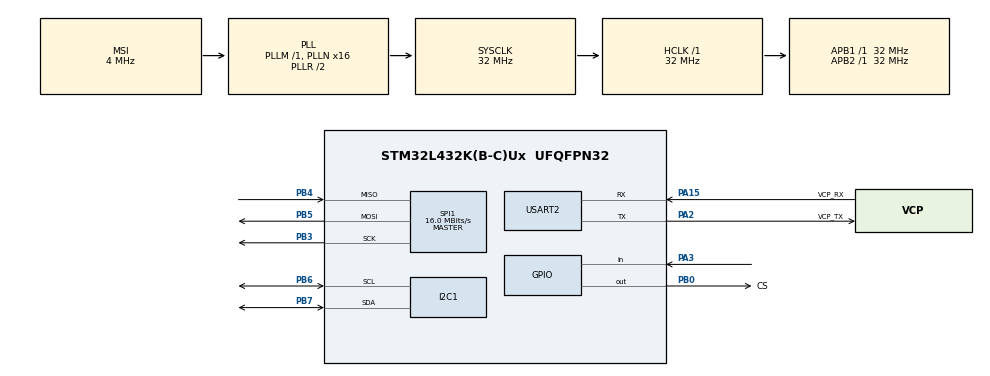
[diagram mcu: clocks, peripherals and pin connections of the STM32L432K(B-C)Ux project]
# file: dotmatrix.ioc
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I2C1.Timing=0x00B07CB4
Mcu.Family=STM32L4
Mcu.Name=STM32L432K(B-C)Ux
Mcu.Package=UFQFPN32
NVIC.PriorityGroup=NVIC_PRIORITYGROUP_4
PA0.GPIO_Label=MCO [High speed clock in]
PA0.Mode=HSE-External-Clock-Source-for-LittleOrca
PA0.Signal=RCC_CK_IN
PA13\ (JTMS-SWDIO).GPIO_Label=SWDIO
PA13\ (JTMS-SWDIO).Mode=Serial_Wire
PA13\ (JTMS-SWDIO).Signal=SYS_JTMS-SWDIO
PA14\ (JTCK-SWCLK).GPIO_Label=SWCLK
PA14\ (JTCK-SWCLK).Mode=Serial_Wire
PA14\ (JTCK-SWCLK).Signal=SYS_JTCK-SWCLK
PA15\ (JTDI).GPIO_Label=VCP_RX
PA15\ (JTDI).Mode=Asynchronous
PA15\ (JTDI).Signal=USART2_RX
PA2.GPIO_Label=VCP_TX
PA2.Mode=Asynchronous
PA2.Signal=USART2_TX
PA3.Signal=GPIO_Input
PB0.GPIO_Label=CS
PB0.Signal=GPIO_Output
PB3\ (JTDO-TRACESWO).Mode=Full_Duplex_Master
PB3\ (JTDO-TRACESWO).Signal=SPI1_SCK
PB4\ (NJTRST).Mode=Full_Duplex_Master
PB4\ (NJTRST).Signal=SPI1_MISO
PB5.Mode=Full_Duplex_Master
PB5.Signal=SPI1_MOSI
PB6.Mode=I2C
PB6.Signal=I2C1_SCL
PB7.Mode=I2C
PB7.Signal=I2C1_SDA
PC14-OSC32_IN\ (PC14).Mode=LSE-External-Oscillator
PC14-OSC32_IN\ (PC14).Signal=RCC_OSC32_IN
PC15-OSC32_OUT\ (PC15).Mode=LSE-External-Oscillator
PC15-OSC32_OUT\ (PC15).Signal=RCC_OSC32_OUT
ProjectManager.HeapSize=0x200
ProjectManager.StackSize=0x400
ProjectManager.TargetToolchain=STM32CubeIDE
RCC.AHBFreq_Value=32000000
RCC.APB1Freq_Value=32000000
RCC.APB1TimFreq_Value=32000000
RCC.APB2Freq_Value=32000000
RCC.APB2TimFreq_Value=32000000
RCC.CortexFreq_Value=32000000
RCC.HCLKFreq_Value=32000000
RCC.HSE_VALUE=8000000
RCC.HSI16_VALUE=16000000
RCC.HSI48_VALUE=48000000
RCC.HSI_VALUE=16000000
RCC.MSI_VALUE=4000000
RCC.PLLMUL=RCC_PLLMUL_4
RCC.PLLN=16
RCC.SYSCLKFreq_VALUE=32000000
RCC.SYSCLKSource=RCC_SYSCLKSOURCE_PLLCLK
RCC.VCOOutputFreq_Value=64000000
SPI1.CalculateBaudRate=16.0 MBits/s
SPI1.DataSize=SPI_DATASIZE_8BIT
SPI1.Direction=SPI_DIRECTION_2LINES
SPI1.Mode=SPI_MODE_MASTER
SPI1.VirtualType=VM_MASTER
TIM7.AutoReloadPreload=TIM_AUTORELOAD_PRELOAD_DISABLE
TIM7.Period=65501
TIM7.Prescaler=36639
USART2.VirtualMode-Asynchronous=VM_ASYNC
VP_TIM7_VS_ClockSourceINT.Mode=Enable_Timer
board=NUCLEO-L432KC

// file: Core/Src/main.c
/* USER CODE BEGIN Header */
/**
  ******************************************************************************
  * @file           : main.c
  * @brief          : Main program body
  ******************************************************************************
  * @attention
  *
  * Copyright (c) 2025 STMicroelectronics.
  * All rights reserved.
  *
  * This software is licensed under terms that can be found in the LICENSE file
  * in the root directory of this software component.
  * If no LICENSE file comes with this software, it is provided AS-IS.
  *
  ******************************************************************************
  */
/* USER CODE END Header */
#include "main.h"
#include "i2c.h"
#include "spi.h"
#include "tim.h"
#include "usart.h"
#include "gpio.h"

/* USER CODE BEGIN Includes */
#include "gamelogic.h"
#include "joystick.h"
#include "string.h"
#include <time.h>
#include "LED.h"
#include <stdlib.h>
/* USER CODE END Includes */

/* USER CODE BEGIN PV */
extern int game_over;
/* USER CODE END PV */

void SystemClock_Config(void);

int main(void)
{

  /* USER CODE BEGIN 1 */
    srand(time(NULL));
    const char *msg = "Starting Snake Game\r\n";

  /* USER CODE END 1 */

  /* MCU Configuration--------------------------------------------------------*/

  /* Reset of all peripherals, Initializes the Flash interface and the Systick. */
  HAL_Init();

  /* Configure the system clock */
  SystemClock_Config();

  /* Initialize all configured peripherals */
  MX_GPIO_Init();
  MX_USART2_UART_Init();
  MX_SPI1_Init();
  MX_I2C1_Init();
  MX_TIM7_Init();
  /* USER CODE BEGIN 2 */
  welcome_animation();
  init_game();
  PCA9538A_Init();
  MAX7219_Init();

  /* USER CODE END 2 */

  /* Infinite loop */
  /* USER CODE BEGIN WHILE */
  while (1)
  {
	  // Wait for button press to start the game
	       while (1) {
	           uint8_t joystick_input = PCA9538A_ReadInput();
	           if (joystick_input == JOY_BUTTON) {
	        	   HAL_UART_Transmit(&huart2, (uint8_t*)msg, strlen(msg), HAL_MAX_DELAY);
	        	   HAL_TIM_Base_Start_IT(&htim7);
	               init_game();
	               break;
	           }
	           HAL_Delay(100); // Polling delay
	       }

	       // Game loop
	       while (!game_over) {
	    	   update_direction();
	           move_snake();
	           display_game();
	           HAL_Delay(500);

	       }
	       HAL_TIM_Base_Start_IT(&htim7);
    /* USER CODE END WHILE */

  }
}

void SystemClock_Config(void)
{
  RCC_OscInitTypeDef RCC_OscInitStruct = {0};
  RCC_ClkInitTypeDef RCC_ClkInitStruct = {0};

  /** Configure the main internal regulator output voltage
  */
  if (HAL_PWREx_ControlVoltageScaling(PWR_REGULATOR_VOLTAGE_SCALE1) != HAL_OK)
  {
    Error_Handler();
  }

  /** Configure LSE Drive Capability
  */
  HAL_PWR_EnableBkUpAccess();
  __HAL_RCC_LSEDRIVE_CONFIG(RCC_LSEDRIVE_LOW);

  /** Initializes the RCC Oscillators according to the specified parameters
  * in the RCC_OscInitTypeDef structure.
  */
  RCC_OscInitStruct.OscillatorType = RCC_OSCILLATORTYPE_LSE|RCC_OSCILLATORTYPE_MSI;
  RCC_OscInitStruct.LSEState = RCC_LSE_ON;
  RCC_OscInitStruct.MSIState = RCC_MSI_ON;
  RCC_OscInitStruct.MSICalibrationValue = 0;
  RCC_OscInitStruct.MSIClockRange = RCC_MSIRANGE_6;
  RCC_OscInitStruct.PLL.PLLState = RCC_PLL_ON;
  RCC_OscInitStruct.PLL.PLLSource = RCC_PLLSOURCE_MSI;
  RCC_OscInitStruct.PLL.PLLM = 1;
  RCC_OscInitStruct.PLL.PLLN = 16;
  RCC_OscInitStruct.PLL.PLLP = RCC_PLLP_DIV7;
  RCC_OscInitStruct.PLL.PLLQ = RCC_PLLQ_DIV2;
  RCC_OscInitStruct.PLL.PLLR = RCC_PLLR_DIV2;
  if (HAL_RCC_OscConfig(&RCC_OscInitStruct) != HAL_OK)
  {
    Error_Handler();
  }

  /** Initializes the CPU, AHB and APB buses clocks
  */
  RCC_ClkInitStruct.ClockType = RCC_CLOCKTYPE_HCLK|RCC_CLOCKTYPE_SYSCLK
                              |RCC_CLOCKTYPE_PCLK1|RCC_CLOCKTYPE_PCLK2;
  RCC_ClkInitStruct.SYSCLKSource = RCC_SYSCLKSOURCE_PLLCLK;
  RCC_ClkInitStruct.AHBCLKDivider = RCC_SYSCLK_DIV1;
  RCC_ClkInitStruct.APB1CLKDivider = RCC_HCLK_DIV1;
  RCC_ClkInitStruct.APB2CLKDivider = RCC_HCLK_DIV1;

  if (HAL_RCC_ClockConfig(&RCC_ClkInitStruct, FLASH_LATENCY_1) != HAL_OK)
  {
    Error_Handler();
  }

  /** Enable MSI Auto calibration
  */
  HAL_RCCEx_EnableMSIPLLMode();
}

void Error_Handler(void)
{
  __disable_irq();
  while (1)
  {
  }
}
